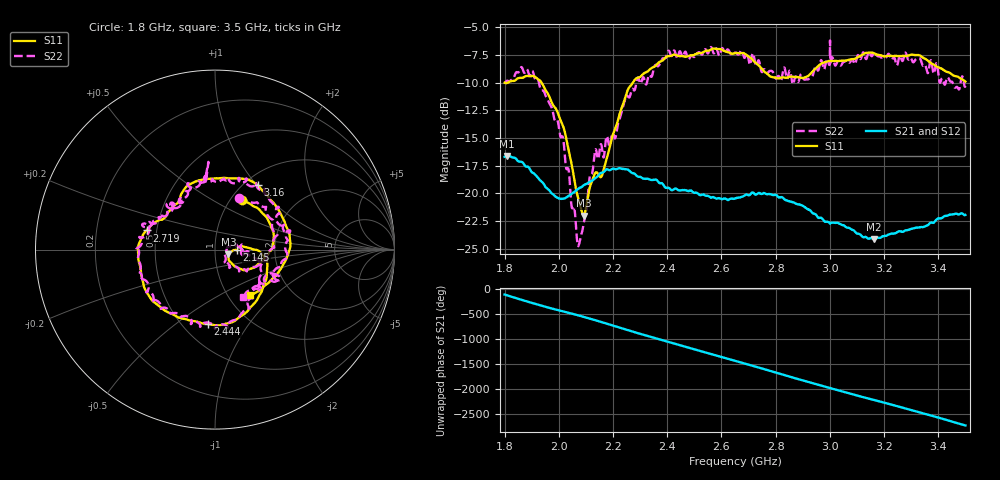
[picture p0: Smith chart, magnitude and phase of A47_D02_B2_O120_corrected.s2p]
! Created with skrf 1.9.0 (http://scikit-rf.org).
# Hz S RI R 50.0
!freq ReS11 ImS11 ReS21 ImS21 ReS12 ImS12 ReS22 ImS22
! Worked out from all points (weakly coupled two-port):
!   1601 points, 1.8 GHz to 3.5 GHz, reference 50 ohm
!   highest |S21| = -16.62 dB at 1.81 GHz (marker M1); lowest = -24.2 dB at 3.162 GHz (marker M2)
!   lowest |S11| = -22.0 dB at 2.092 GHz (marker M3), VSWR 1.17, Z = 58 - j2.98 ohm
!   |S11| at or under -10 dB: start of sweep to 1.812 GHz; 1.936 GHz to 2.273 GHz (337.1 MHz wide, 16 % of centre)
!   |S22| runs from -24.8 to -6.2 dB; largest |S21 - S12| = 0.0025
!   S11 on the Smith chart (normalised r, x): 1.8 GHz: 1.12, +0.69; 2.145 GHz: 1.28, +0.00; 2.444 GHz: 0.66, -0.66; 2.719 GHz: 0.44, +0.11; 3.16 GHz: 1.15, +1.01; 3.5 GHz: 1.26, -0.71
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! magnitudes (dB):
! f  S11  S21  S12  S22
! 1.8 GHz  -10.0  -16.7  -16.7  -10.0
! 1.81 GHz  -10.0  -16.6  -16.6  -9.8
! 1.864 GHz  -9.6  -17.2  -17.2  -8.6
! 1.952 GHz  -10.7  -19.5  -19.4  -11.2
! 2.019 GHz  -14.2  -20.5  -20.5  -15.6
! 2.07 GHz  -20.3  -19.6  -19.6  -24.7
! 2.084 GHz  -21.5  -19.4  -19.4  -23.6
! 2.092 GHz  -22.0  -19.3  -19.3  -22.7
! 2.129 GHz  -18.4  -18.7  -18.7  -16.9
! 2.145 GHz  -18.3  -18.4  -18.4  -16.9
! 2.209 GHz  -14.1  -17.8  -17.8  -15.0
! 2.258 GHz  -10.5  -17.9  -17.9  -11.3
! 2.367 GHz  -8.2  -19.0  -18.9  -8.5
! 2.444 GHz  -7.6  -19.7  -19.7  -7.3
! 2.65 GHz  -7.3  -20.5  -20.4  -7.3
! 2.719 GHz  -8.1  -20.0  -19.9  -7.5
! 2.804 GHz  -9.6  -20.2  -20.2  -9.6
! 2.934 GHz  -9.1  -21.7  -21.7  -9.5
! 3.16 GHz  -7.3  -24.1  -24.1  -7.4
! 3.162 GHz  -7.3  -24.2  -24.1  -7.2
! 3.217 GHz  -7.6  -23.7  -23.7  -7.4
! 3.5 GHz  -9.9  -22.0  -21.9  -10.3
